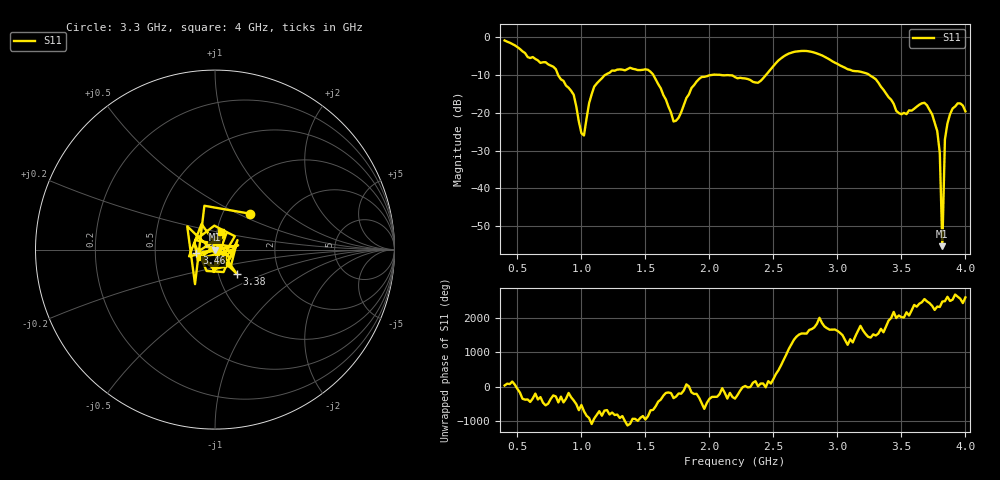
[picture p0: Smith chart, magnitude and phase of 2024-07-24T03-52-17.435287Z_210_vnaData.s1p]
!Created with skrf (http://scikit-rf.org).
# Hz S RI R 50.0
!freq ReS11 ImS11
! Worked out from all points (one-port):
!   181 points, 400 MHz to 4 GHz, reference 50 ohm
!   lowest |S11| = -55.4 dB at 3.82 GHz (marker M1), VSWR 1.00, Z = 50.1 - j0.126 ohm
!   |S11| at or under -10 dB: 818.6 MHz to 1.183 GHz (364.6 MHz wide, 36.4 % of centre); 1.563 GHz to 2.009 GHz (446.1 MHz wide, 25 % of centre); 3.252 GHz to end of sweep (the widest 3 of 5)
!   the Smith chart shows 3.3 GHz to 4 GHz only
!   S11 on the Smith chart (normalised r, x): 3.3 GHz: 1.34, +0.58; 3.38 GHz: 1.22, -0.34; 3.46 GHz: 0.81, -0.03; 4 GHz: 1.05, +0.21
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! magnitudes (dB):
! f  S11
! 400 MHz  -0.8
! 860 MHz  -11.5
! 940 MHz  -15.2
! 1 GHz  -25.4
! 1.02 GHz  -26.0
! 1.06 GHz  -17.5
! 1.1 GHz  -13.1
! 1.3 GHz  -8.5
! 1.54 GHz  -9.1
! 1.72 GHz  -22.3
! 1.76 GHz  -21.3
! 1.94 GHz  -10.5
! 2.2 GHz  -10.5
! 2.38 GHz  -12.0
! 2.66 GHz  -3.8
! 3.1 GHz  -8.6
! 3.3 GHz  -11.1
! 3.38 GHz  -14.9
! 3.46 GHz  -19.5
! 3.56 GHz  -19.4
! 3.68 GHz  -17.3
! 3.78 GHz  -24.8
! 3.8 GHz  -30.6
! 3.82 GHz  -55.4
! 3.84 GHz  -27.1
! 3.86 GHz  -22.8
! 3.94 GHz  -17.5
! 4 GHz  -19.6
